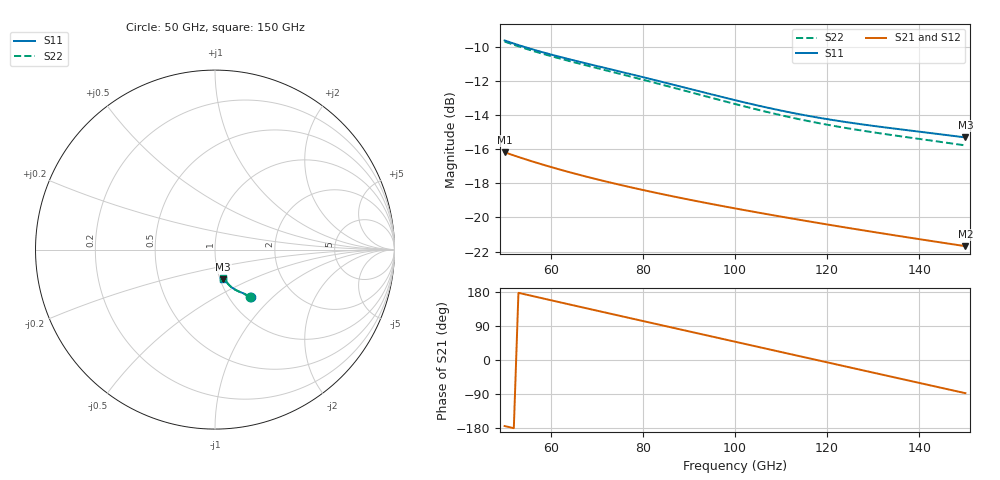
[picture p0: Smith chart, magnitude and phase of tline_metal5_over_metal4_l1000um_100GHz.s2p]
#  GHZ S DB R 50
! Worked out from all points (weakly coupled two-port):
!   101 points, 50 GHz to 150 GHz, reference 50 ohm
!   highest |S21| = -16.18 dB at 50 GHz (marker M1); lowest = -21.7 dB at 150 GHz (marker M2)
!   lowest |S11| = -15.3 dB at 150 GHz (marker M3), VSWR 1.41, Z = 51.8 - j17.6 ohm
!   |S11| at or under -10 dB: 54.23 GHz to end of sweep
!   |S22| runs from -15.8 to -9.7 dB; largest |S21 - S12| = 2.4e-13
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50  -9.63 -53.1  -16.18 -174.3  -16.18 -174.3  -9.69 -53.8
54  -9.98 -54.2  -16.54 174.5  -16.54 174.5  -10.06 -54.9
58  -10.30 -55.3  -16.88 163.4  -16.88 163.4  -10.39 -56.0
63  -10.66 -56.7  -17.27 149.6  -17.27 149.6  -10.76 -57.4
67  -10.93 -57.9  -17.56 138.6  -17.56 138.6  -11.04 -58.6
71  -11.19 -59.1  -17.83 127.6  -17.83 127.6  -11.31 -59.9
75  -11.45 -60.4  -18.08 116.6  -18.08 116.6  -11.58 -61.2
79  -11.71 -61.7  -18.33 105.7  -18.33 105.7  -11.86 -62.5
84  -12.04 -63.2  -18.62 92.0  -18.62 92.0  -12.21 -64.0
88  -12.32 -64.4  -18.84 81.1  -18.84 81.1  -12.49 -65.2
92  -12.59 -65.4  -19.06 70.1  -19.06 70.1  -12.78 -66.3
100  -13.12 -67.2  -19.47 48.3  -19.47 48.3  -13.35 -68.1
105  -13.44 -68.1  -19.71 34.7  -19.71 34.7  -13.69 -69.0
109  -13.68 -68.7  -19.90 23.8  -19.90 23.8  -13.95 -69.6
113  -13.90 -69.2  -20.09 12.9  -20.09 12.9  -14.19 -70.1
117  -14.10 -69.7  -20.27 2.0  -20.27 2.0  -14.41 -70.5
121  -14.28 -70.1  -20.45 -8.9  -20.45 -8.9  -14.61 -70.9
125  -14.44 -70.6  -20.63 -19.8  -20.63 -19.8  -14.80 -71.4
134  -14.77 -71.8  -21.02 -44.2  -21.02 -44.2  -15.17 -72.4
142  -15.04 -73.0  -21.35 -65.9  -21.35 -65.9  -15.47 -73.6
146  -15.17 -73.7  -21.52 -76.8  -21.52 -76.8  -15.62 -74.2
150  -15.31 -74.4  -21.68 -87.6  -21.68 -87.6  -15.78 -74.8
